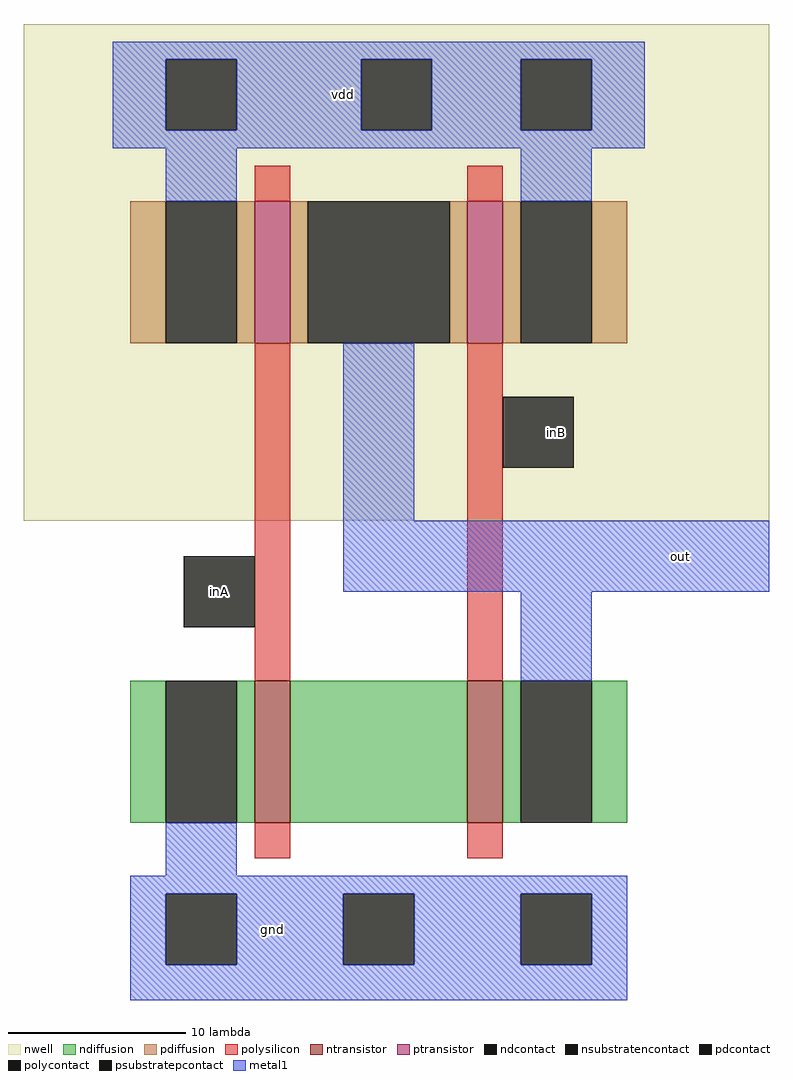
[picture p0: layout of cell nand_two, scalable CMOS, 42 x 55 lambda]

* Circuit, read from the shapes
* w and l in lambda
.subckt nand_two gnd inA inB out vdd
M1 n1 inA gnd gnd nfet w=8 l=2
M2 out inB n1 gnd nfet w=8 l=2
M3 out inA vdd vdd pfet w=8 l=2
M4 vdd inB out vdd pfet w=8 l=2
.ends

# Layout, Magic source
magic
tech scmos
<< nwell >>
rect -25 10 17 38
<< polysilicon >>
rect -12 28 -10 30
rect 0 28 2 30
rect -12 1 -10 20
rect 0 1 2 20
rect -12 -9 -10 -7
rect 0 -9 2 -7
<< ndiffusion >>
rect -19 -7 -17 1
rect -13 -7 -12 1
rect -10 -7 0 1
rect 2 -7 3 1
rect 7 -7 9 1
<< pdiffusion >>
rect -19 20 -17 28
rect -13 20 -12 28
rect -10 20 -9 28
rect -1 20 0 28
rect 2 20 3 28
rect 7 20 9 28
<< metal1 >>
rect -20 36 10 37
rect -20 32 -17 36
rect -13 32 -6 36
rect -2 32 3 36
rect 7 32 10 36
rect -20 31 10 32
rect -17 28 -13 31
rect 3 28 7 31
rect -7 10 -3 20
rect -7 6 17 10
rect 3 1 7 6
rect -17 -10 -13 -7
rect -19 -11 9 -10
rect -19 -15 -17 -11
rect -13 -15 -7 -11
rect -3 -15 3 -11
rect 7 -15 9 -11
rect -19 -17 9 -15
<< ntransistor >>
rect -12 -7 -10 1
rect 0 -7 2 1
<< ptransistor >>
rect -12 20 -10 28
rect 0 20 2 28
<< polycontact >>
rect -16 4 -12 8
rect 2 13 6 17
<< ndcontact >>
rect -17 -7 -13 1
rect 3 -7 7 1
<< pdcontact >>
rect -17 20 -13 28
rect -9 20 -1 28
rect 3 20 7 28
<< psubstratepcontact >>
rect -17 -15 -13 -11
rect -7 -15 -3 -11
rect 3 -15 7 -11
<< nsubstratencontact >>
rect -17 32 -13 36
rect -6 32 -2 36
rect 3 32 7 36
<< labels >>
rlabel metal1 -7 34 -7 34 5 vdd
rlabel metal1 -11 -13 -11 -13 1 gnd
rlabel polycontact 5 15 5 15 1 inB
rlabel metal1 12 8 12 8 7 out
rlabel polycontact -14 6 -14 6 1 inA
<< end >>
